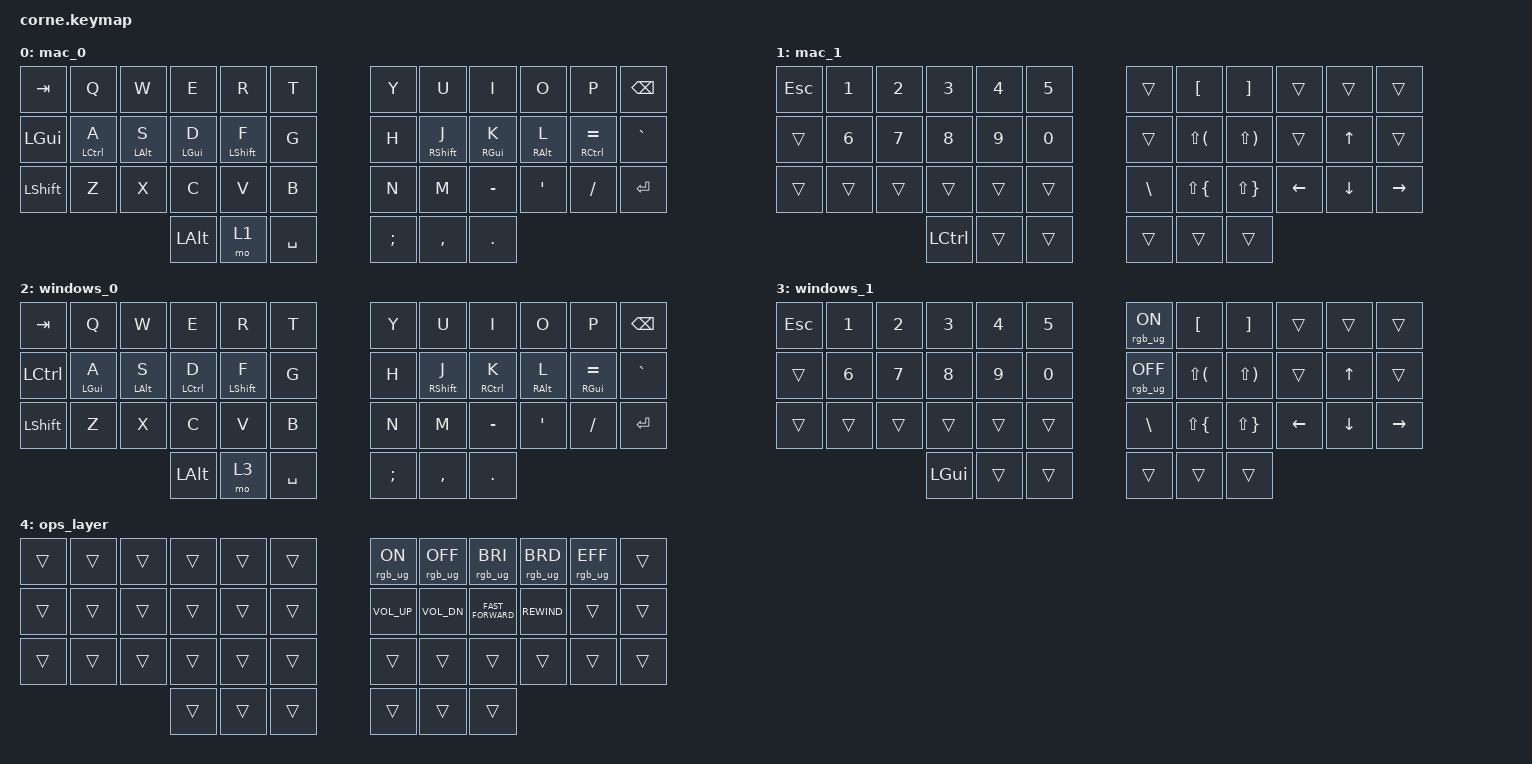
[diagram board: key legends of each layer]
/*
 * Copyright (c) 2020 The ZMK Contributors
 *
 * SPDX-License-Identifier: MIT
 */

#include <behaviors.dtsi>
#include <dt-bindings/zmk/bt.h>
#include <dt-bindings/zmk/keys.h>
#include <dt-bindings/zmk/rgb.h>

/ {
    // Key position definitions for Corne 42-key layout
    // Layout:
    //  0  1  2  3  4  5    6  7  8  9 10 11
    // 12 13 14 15 16 17   18 19 20 21 22 23
    // 24 25 26 27 28 29   30 31 32 33 34 35
    //          36 37 38   39 40 41

    behaviors {
        // urob's timeless homerow mods implementation
        // Uses macro-style definition with optimized parameters

        hml: homerow_mods_left {
            compatible = "zmk,behavior-hold-tap";
            label = "HOMEROW_MODS_LEFT";
            #binding-cells = <2>;
            flavor = "balanced";
            tapping-term-ms = <280>;
            quick-tap-ms = <175>;
            require-prior-idle-ms = <150>;
            bindings = <&kp>, <&kp>;
            // Right side keys + thumbs (urob's approach)
            hold-trigger-key-positions = <6 7 8 9 10 11 18 19 20 21 22 23 30 31 32 33 34 35 39 40 41>;
            hold-trigger-on-release;
        };

        hmr: homerow_mods_right {
            compatible = "zmk,behavior-hold-tap";
            label = "HOMEROW_MODS_RIGHT";
            #binding-cells = <2>;
            flavor = "balanced";
            tapping-term-ms = <280>;
            quick-tap-ms = <175>;
            require-prior-idle-ms = <150>;
            bindings = <&kp>, <&kp>;
            // Left side keys + thumbs (urob's approach)
            hold-trigger-key-positions = <0 1 2 3 4 5 12 13 14 15 16 17 24 25 26 27 28 29 36 37 38>;
            hold-trigger-on-release;
        };
    };

    combos {
        compatible = "zmk,combos";

        ToggleWindows {
            bindings = <&tog 2>;
            key-positions = <0 33 34 35>;
        };

        SELECT_BT_0 {
            bindings = <&bt BT_SEL 0>;
            key-positions = <1 33 35 34>;
        };

        SELECT_BT_1 {
            bindings = <&bt BT_SEL 1>;
            key-positions = <2 33 34 35>;
        };

        CLEAR_BT {
            bindings = <&bt BT_CLR_ALL>;
            key-positions = <13 33 34 35>;
        };

        Ops_layer {
            bindings = <&tog 4>;
            key-positions = <29 33 34 35>;
        };
    };

    keymap {
        compatible = "zmk,keymap";

        mac_0 {
            display-name = "mac_0";

            // -----------------------------------------------------------------------------------------
            // |  TAB |  Q  |  W  |  E  |  R  |  T  |   |  Y  |  U   |  I  |  O  |  P  | BSPC |
            // | GUI  | A/GUI | S/ALT | D/CTRL | F/SHFT |  G  |   |  H  | J/SHFT | K/CTRL | L/ALT | =/GUI |  `   |
            // | SHFT |  Z  |  X  |  C  |  V  |  B  |   |  N  |  M   |  -  |  '  |  /  | ENT  |
            //                    | ALT | LWR | SPC |   |  ;  |  ,   |  .  |

            bindings = <
&kp TAB       &kp Q                &kp W        &kp E            &kp R         &kp T        &kp Y          &kp U         &kp I             &kp O             &kp P                     &kp BSPC
&kp LEFT_GUI  &hml LEFT_CONTROL A  &hml LALT S  &hml LEFT_GUI D  &hml LSHFT F  &kp G        &kp H          &hmr RSHFT J  &hmr RIGHT_GUI K  &hmr RALT L       &hmr RIGHT_CONTROL EQUAL  &kp GRAVE
&kp LSHFT     &kp Z                &kp X        &kp C            &kp V         &kp B        &kp N          &kp M         &kp MINUS         &kp SINGLE_QUOTE  &kp FSLH                  &kp ENTER
                                                &kp LEFT_ALT     &mo 1         &kp SPACE    &kp SEMICOLON  &kp COMMA     &kp PERIOD
            >;
        };

        mac_1 {
            bindings = <
&kp ESC  &kp N1  &kp N2  &kp N3            &kp N4  &kp N5    &trans    &kp LBKT      &kp RBKT      &trans    &trans    &trans
&trans   &kp N6  &kp N7  &kp N8            &kp N9  &kp N0    &trans    &kp LS(LPAR)  &kp LS(RPAR)  &trans    &kp UP    &trans
&trans   &trans  &trans  &trans            &trans  &trans    &kp BSLH  &kp LS(LBRC)  &kp LS(RBRC)  &kp LEFT  &kp DOWN  &kp RIGHT
                         &kp LEFT_CONTROL  &trans  &trans    &trans    &trans        &trans
            >;
        };

        windows_0 {
            display-name = "windows_0";

            // -----------------------------------------------------------------------------------------
            // |  TAB |  Q  |  W  |  E  |  R  |  T  |   |  Y  |  U   |  I  |  O  |  P  | BSPC |
            // | CTRL | A/GUI | S/ALT | D/CTRL | F/SHFT |  G  |   |  H  | J/SHFT | K/CTRL | L/ALT | =/GUI |  `   |
            // | SHFT |  Z  |  X  |  C  |  V  |  B  |   |  N  |  M   |  -  |  '  |  /  | ENT  |
            //                    | ALT | LWR | SPC |   |  ;  |  ,   |  .  |

            bindings = <
&kp TAB           &kp Q        &kp W        &kp E         &kp R         &kp T        &kp Y          &kp U         &kp I         &kp O             &kp P            &kp BSPC
&kp LEFT_CONTROL  &hml LGUI A  &hml LALT S  &hml LCTRL D  &hml LSHFT F  &kp G        &kp H          &hmr RSHFT J  &hmr RCTRL K  &hmr RALT L       &hmr RGUI EQUAL  &kp GRAVE
&kp LSHFT         &kp Z        &kp X        &kp C         &kp V         &kp B        &kp N          &kp M         &kp MINUS     &kp SINGLE_QUOTE  &kp FSLH         &kp ENTER
                                            &kp LEFT_ALT  &mo 3         &kp SPACE    &kp SEMICOLON  &kp COMMA     &kp PERIOD
            >;
        };

        windows_1 {
            bindings = <
&kp ESC  &kp N1  &kp N2  &kp N3        &kp N4  &kp N5    &rgb_ug RGB_ON   &kp LBKT      &kp RBKT      &trans    &trans    &trans
&trans   &kp N6  &kp N7  &kp N8        &kp N9  &kp N0    &rgb_ug RGB_OFF  &kp LS(LPAR)  &kp LS(RPAR)  &trans    &kp UP    &trans
&trans   &trans  &trans  &trans        &trans  &trans    &kp BSLH         &kp LS(LBRC)  &kp LS(RBRC)  &kp LEFT  &kp DOWN  &kp RIGHT
                         &kp LEFT_GUI  &trans  &trans    &trans           &trans        &trans
            >;
        };

        ops_layer {
            bindings = <
&trans  &trans  &trans  &trans  &trans  &trans    &rgb_ug RGB_ON   &rgb_ug RGB_OFF  &rgb_ug RGB_BRI     &rgb_ug RGB_BRD  &rgb_ug RGB_EFF  &trans
&trans  &trans  &trans  &trans  &trans  &trans    &kp C_VOLUME_UP  &kp C_VOL_DN     &kp C_FAST_FORWARD  &kp C_REWIND     &trans           &trans
&trans  &trans  &trans  &trans  &trans  &trans    &trans           &trans           &trans              &trans           &trans           &trans
                        &trans  &trans  &trans    &trans           &trans           &trans
            >;
        };
    };
};
